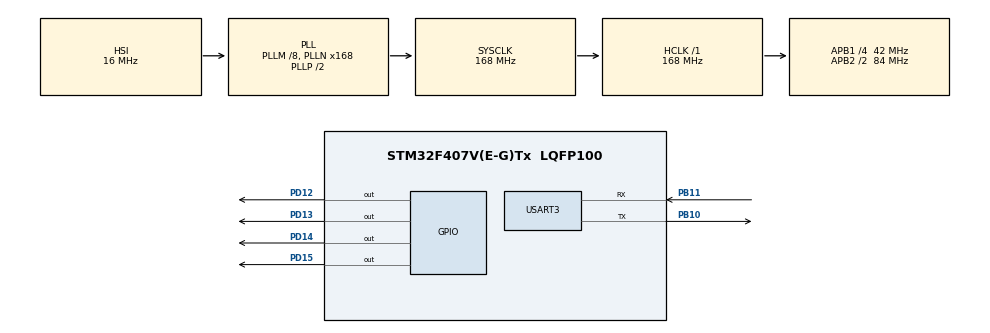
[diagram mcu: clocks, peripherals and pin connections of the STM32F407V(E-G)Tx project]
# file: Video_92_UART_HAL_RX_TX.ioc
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Mcu.Family=STM32F4
Mcu.Name=STM32F407V(E-G)Tx
Mcu.Package=LQFP100
NVIC.PriorityGroup=NVIC_PRIORITYGROUP_4
PB10.Mode=Asynchronous
PB10.Signal=USART3_TX
PB11.Mode=Asynchronous
PB11.Signal=USART3_RX
PD12.Signal=GPIO_Output
PD13.Signal=GPIO_Output
PD14.Signal=GPIO_Output
PD15.Signal=GPIO_Output
ProjectManager.HeapSize=0x200
ProjectManager.StackSize=0x400
ProjectManager.TargetToolchain=TrueSTUDIO
RCC.48MHZClocksFreq_Value=84000000
RCC.AHBFreq_Value=168000000
RCC.APB1CLKDivider=RCC_HCLK_DIV4
RCC.APB1Freq_Value=42000000
RCC.APB1TimFreq_Value=84000000
RCC.APB2CLKDivider=RCC_HCLK_DIV2
RCC.APB2Freq_Value=84000000
RCC.APB2TimFreq_Value=168000000
RCC.CortexFreq_Value=168000000
RCC.HCLKFreq_Value=168000000
RCC.HSE_VALUE=25000000
RCC.HSI_VALUE=16000000
RCC.LSE_VALUE=32768
RCC.PLLM=8
RCC.PLLN=168
RCC.SYSCLKFreq_VALUE=168000000
RCC.SYSCLKSource=RCC_SYSCLKSOURCE_PLLCLK
RCC.VCOOutputFreq_Value=336000000
USART3.VirtualMode=VM_ASYNC
board=custom

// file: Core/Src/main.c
/* USER CODE BEGIN Header */
/**
  ******************************************************************************
  * @file           : main.c
  * @brief          : Main program body
  ******************************************************************************
  * @attention
  *
  * <h2><center>&copy; Copyright (c) 2022 STMicroelectronics.
  * All rights reserved.</center></h2>
  *
  * This software component is licensed by ST under BSD 3-Clause license,
  * the "License"; You may not use this file except in compliance with the
  * License. You may obtain a copy of the License at:
  *                        opensource.org/licenses/BSD-3-Clause
  *
  ******************************************************************************
  */
/* USER CODE END Header */
#include "main.h"

UART_HandleTypeDef huart3;

/* USER CODE BEGIN PV */

char rx_buffer[50];

/* USER CODE END PV */

void SystemClock_Config(void);
static void MX_GPIO_Init(void);
static void MX_USART3_UART_Init(void);

/* USER CODE BEGIN 0 */
char tx_buffer[50];
char rx_buffer[50];
/* USER CODE END 0 */

int main(void)
{

  /* MCU Configuration--------------------------------------------------------*/

  /* Reset of all peripherals, Initializes the Flash interface and the Systick. */
  HAL_Init();

  /* Configure the system clock */
  SystemClock_Config();

  /* Initialize all configured peripherals */
  MX_GPIO_Init();
  MX_USART3_UART_Init();

  /* Infinite loop */
  while (1)
  {

    /* USER CODE BEGIN 3 */
	  HAL_UART_Receive(&huart3, (uint8_t*)rx_buffer, 50, 100);

	  if(rx_buffer[0] == 'l' && rx_buffer[1] == 'e' && rx_buffer[2] == 'd' && rx_buffer[3] == '1' && rx_buffer[4] == ' ' && rx_buffer[5] == 'o' && rx_buffer[6] == 'n')
	  {
		  HAL_GPIO_WritePin(GPIOD, GPIO_PIN_12, GPIO_PIN_SET);
		  //HAL_UART_Transmit(&huart3, (uint8_t)*tx_buffer, sprintf(tx_buffer, "Birinci led yandi"), 100);
	  }
	  else if(rx_buffer[0] == 'l' && rx_buffer[1] == 'e' && rx_buffer[2] == 'd' && rx_buffer[3] == '1' && rx_buffer[4] == ' ' && rx_buffer[5] == 'o' && rx_buffer[6] == 'f' && rx_buffer[7] == 'f')
	  	  HAL_GPIO_WritePin(GPIOD, GPIO_PIN_12, GPIO_PIN_RESET);
	  if(rx_buffer[0] == 'l' && rx_buffer[1] == 'e' && rx_buffer[2] == 'd' && rx_buffer[3] == '2' && rx_buffer[4] == ' ' && rx_buffer[5] == 'o' && rx_buffer[6] == 'n')
	  	  HAL_GPIO_WritePin(GPIOD, GPIO_PIN_13, GPIO_PIN_SET);
	  else if(rx_buffer[0] == 'l' && rx_buffer[1] == 'e' && rx_buffer[2] == 'd' && rx_buffer[3] == '2' && rx_buffer[4] == ' ' && rx_buffer[5] == 'o' && rx_buffer[6] == 'f' && rx_buffer[7] == 'f')
	  	  HAL_GPIO_WritePin(GPIOD, GPIO_PIN_13, GPIO_PIN_RESET);
	  if(rx_buffer[0] == 'l' && rx_buffer[1] == 'e' && rx_buffer[2] == 'd' && rx_buffer[3] == '3' && rx_buffer[4] == ' ' && rx_buffer[5] == 'o' && rx_buffer[6] == 'n')
	  	  HAL_GPIO_WritePin(GPIOD, GPIO_PIN_14, GPIO_PIN_SET);
	  else if(rx_buffer[0] == 'l' && rx_buffer[1] == 'e' && rx_buffer[2] == 'd' && rx_buffer[3] == '3' && rx_buffer[4] == ' ' && rx_buffer[5] == 'o' && rx_buffer[6] == 'f' && rx_buffer[7] == 'f')
	  	  HAL_GPIO_WritePin(GPIOD, GPIO_PIN_14, GPIO_PIN_RESET);
	  if(rx_buffer[0] == 'l' && rx_buffer[1] == 'e' && rx_buffer[2] == 'd' && rx_buffer[3] == '4' && rx_buffer[4] == ' ' && rx_buffer[5] == 'o' && rx_buffer[6] == 'n')
	  	  HAL_GPIO_WritePin(GPIOD, GPIO_PIN_15, GPIO_PIN_SET);
	  else if(rx_buffer[0] == 'l' && rx_buffer[1] == 'e' && rx_buffer[2] == 'd' && rx_buffer[3] == '4' && rx_buffer[4] == ' ' && rx_buffer[5] == 'o' && rx_buffer[6] == 'f' && rx_buffer[7] == 'f')
	  	  HAL_GPIO_WritePin(GPIOD, GPIO_PIN_15, GPIO_PIN_RESET);

  }
  /* USER CODE END 3 */
}

void SystemClock_Config(void)
{
  RCC_OscInitTypeDef RCC_OscInitStruct = {0};
  RCC_ClkInitTypeDef RCC_ClkInitStruct = {0};

  /** Configure the main internal regulator output voltage
  */
  __HAL_RCC_PWR_CLK_ENABLE();
  __HAL_PWR_VOLTAGESCALING_CONFIG(PWR_REGULATOR_VOLTAGE_SCALE1);
  /** Initializes the RCC Oscillators according to the specified parameters
  * in the RCC_OscInitTypeDef structure.
  */
  RCC_OscInitStruct.OscillatorType = RCC_OSCILLATORTYPE_HSI;
  RCC_OscInitStruct.HSIState = RCC_HSI_ON;
  RCC_OscInitStruct.HSICalibrationValue = RCC_HSICALIBRATION_DEFAULT;
  RCC_OscInitStruct.PLL.PLLState = RCC_PLL_ON;
  RCC_OscInitStruct.PLL.PLLSource = RCC_PLLSOURCE_HSI;
  RCC_OscInitStruct.PLL.PLLM = 8;
  RCC_OscInitStruct.PLL.PLLN = 168;
  RCC_OscInitStruct.PLL.PLLP = RCC_PLLP_DIV2;
  RCC_OscInitStruct.PLL.PLLQ = 4;
  if (HAL_RCC_OscConfig(&RCC_OscInitStruct) != HAL_OK)
  {
    Error_Handler();
  }
  /** Initializes the CPU, AHB and APB buses clocks
  */
  RCC_ClkInitStruct.ClockType = RCC_CLOCKTYPE_HCLK|RCC_CLOCKTYPE_SYSCLK
                              |RCC_CLOCKTYPE_PCLK1|RCC_CLOCKTYPE_PCLK2;
  RCC_ClkInitStruct.SYSCLKSource = RCC_SYSCLKSOURCE_PLLCLK;
  RCC_ClkInitStruct.AHBCLKDivider = RCC_SYSCLK_DIV1;
  RCC_ClkInitStruct.APB1CLKDivider = RCC_HCLK_DIV4;
  RCC_ClkInitStruct.APB2CLKDivider = RCC_HCLK_DIV2;

  if (HAL_RCC_ClockConfig(&RCC_ClkInitStruct, FLASH_LATENCY_5) != HAL_OK)
  {
    Error_Handler();
  }
}

static void MX_USART3_UART_Init(void)
{

  huart3.Instance = USART3;
  huart3.Init.BaudRate = 115200;
  huart3.Init.WordLength = UART_WORDLENGTH_8B;
  huart3.Init.StopBits = UART_STOPBITS_1;
  huart3.Init.Parity = UART_PARITY_NONE;
  huart3.Init.Mode = UART_MODE_TX_RX;
  huart3.Init.HwFlowCtl = UART_HWCONTROL_NONE;
  huart3.Init.OverSampling = UART_OVERSAMPLING_16;
  if (HAL_UART_Init(&huart3) != HAL_OK)
  {
    Error_Handler();
  }

}

static void MX_GPIO_Init(void)
{
  GPIO_InitTypeDef GPIO_InitStruct = {0};

  /* GPIO Ports Clock Enable */
  __HAL_RCC_GPIOB_CLK_ENABLE();
  __HAL_RCC_GPIOD_CLK_ENABLE();

  /*Configure GPIO pin Output Level */
  HAL_GPIO_WritePin(GPIOD, GPIO_PIN_12|GPIO_PIN_13|GPIO_PIN_14|GPIO_PIN_15, GPIO_PIN_RESET);

  /*Configure GPIO pins : PD12 PD13 PD14 PD15 */
  GPIO_InitStruct.Pin = GPIO_PIN_12|GPIO_PIN_13|GPIO_PIN_14|GPIO_PIN_15;
  GPIO_InitStruct.Mode = GPIO_MODE_OUTPUT_PP;
  GPIO_InitStruct.Pull = GPIO_NOPULL;
  GPIO_InitStruct.Speed = GPIO_SPEED_FREQ_LOW;
  HAL_GPIO_Init(GPIOD, &GPIO_InitStruct);

}

void Error_Handler(void)
{
  __disable_irq();
  while (1)
  {
  }
}

/************************ (C) COPYRIGHT STMicroelectronics *****END OF FILE****/
